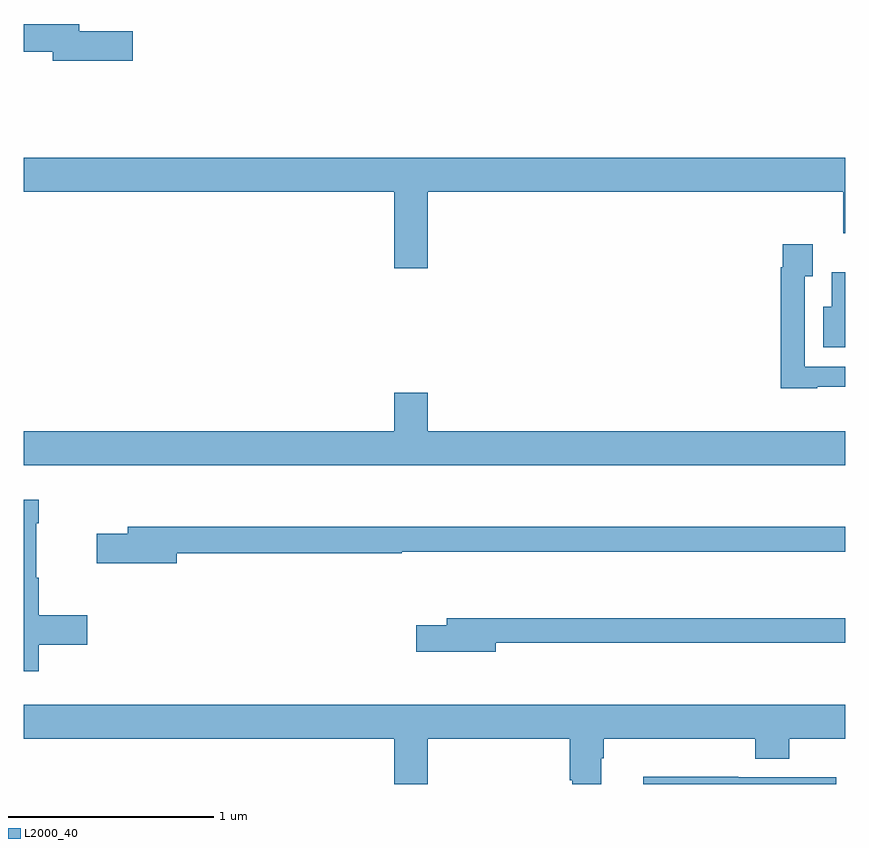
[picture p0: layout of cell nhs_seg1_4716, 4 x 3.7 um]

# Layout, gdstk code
import gdstk
lib = gdstk.Library(unit=1e-6, precision=1e-09)
def P(c, l, *ps):  # polygons
    for p in ps: c.add(gdstk.Polygon(p, *l))
L2000_40 = (2000, 40)

nhs_seg1_4716 = lib.new_cell('nhs_seg1_4716')
P(nhs_seg1_4716, L2000_40, [(367.531,533.864),(367.27,533.864),(367.27,533.9),(367,533.9),(367,533.764),(367.142,533.764),(367.142,533.722),(367.531,533.722)],
  [(368.968,533.084),(370.991,533.084),(370.991,532.882),(371,532.882),(371,533.248),(367,533.248),(367,533.084),(368.804,533.084),(368.804,532.71),(368.968,532.71)],
  [(370.863,532.134),(371,532.134),(371,532.23),(370.803,532.23),(370.803,532.672),(370.843,532.672),(370.843,532.828),(370.695,532.828),(370.695,532.715),(370.687,532.715),(370.687,532.127),(370.863,532.127)],
  [(371,532.692),(370.934,532.692),(370.934,532.522),(370.892,532.522),(370.892,532.325),(371,532.325)],
  [(371,531.916),(368.968,531.916),(368.968,532.105),(368.804,532.105),(368.804,531.916),(367,531.916),(367,531.752),(371,531.752)],
  [(367.073,530.878),(367.309,530.878),(367.309,531.02),(367.073,531.02),(367.073,531.203),(367.06,531.203),(367.06,531.47),(367.073,531.47),(367.073,531.583),(367,531.583),(367,530.748),(367.073,530.748)],
  [(367.744,531.322),(368.84,531.322),(368.84,531.33),(371,531.33),(371,531.451),(367.505,531.451),(367.505,531.417),(367.356,531.417),(367.356,531.275),(367.744,531.275)],
  [(369.298,530.886),(371,530.886),(371,531.007),(369.059,531.007),(369.059,530.973),(368.91,530.973),(368.91,530.843),(369.298,530.843)],
  [(368.968,530.42),(369.659,530.42),(369.659,530.218),(369.671,530.218),(369.671,530.199),(369.811,530.199),(369.811,530.324),(369.824,530.324),(369.824,530.42),(370.562,530.42),(370.562,530.321),(370.727,530.321),(370.727,530.42),(371,530.42),(371,530.584),(367,530.584),(367,530.42),(368.804,530.42),(368.804,530.199),(368.968,530.199)],
  [(370.956,530.232),(370.478,530.232),(370.478,530.234),(370.016,530.234),(370.016,530.199),(370.956,530.199)])

lib.write_gds('nhs_seg1_4716.gds')
